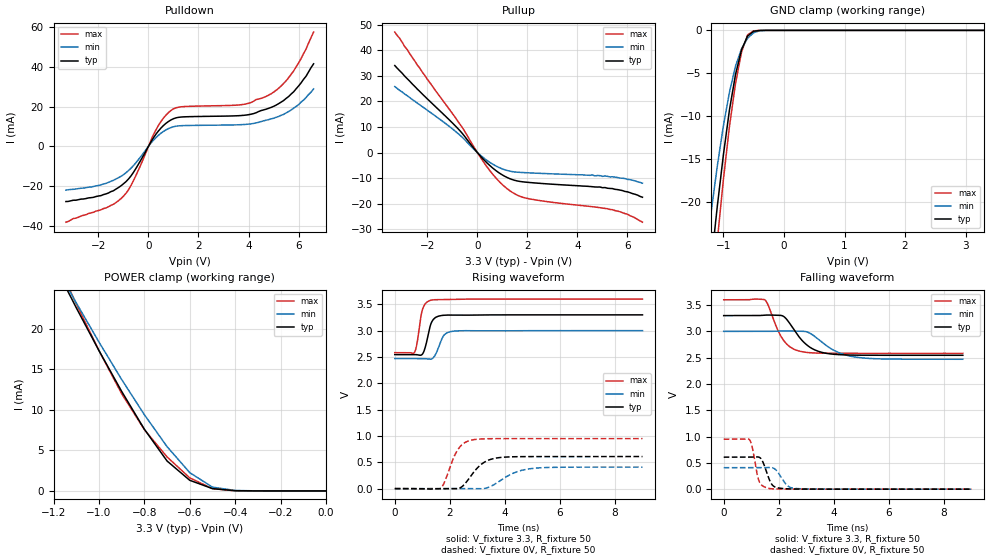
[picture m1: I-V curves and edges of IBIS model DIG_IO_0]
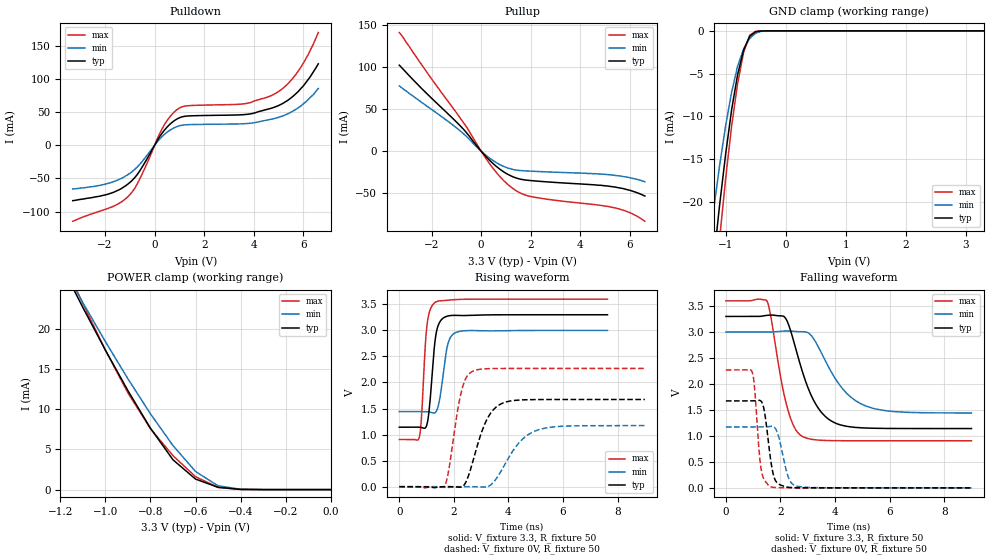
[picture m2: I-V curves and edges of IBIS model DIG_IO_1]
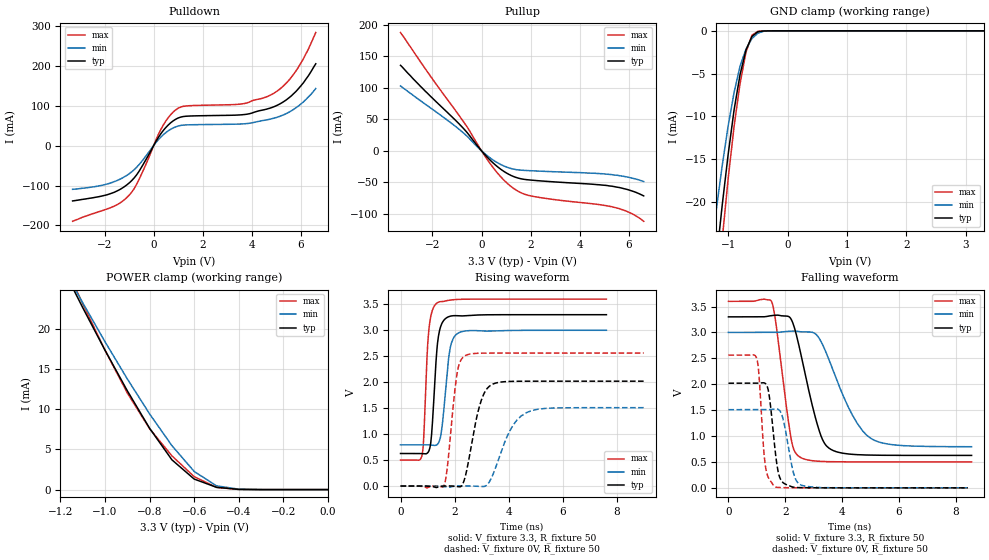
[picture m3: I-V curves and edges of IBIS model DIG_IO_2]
| COPYRIGHT(C) ADI 2011
[IBIS Ver] 4.2
[File Name] adv7182.ibs
[File Rev] 0.1
[Source]   This file originated at Analog Devices.
   I/V Curves based on simulations.
[Date]   12th October 2011
[Notes]   ibisckh5 4.2 gives 0 errors and 4 warnings
   Non monotonicity warnings and notes are related to
   simulation models and accuracy. Errors do not show visually.
   This IBIS model includes information on programmable
   drive strength and programmable open drain pins (interrupt).
   Layout simulation used where possible. Over the rails
   measurements do not reflect actual silicon.
[Disclaimer]
            This IBIS model is provided "AS IS, WHERE IS, AND WITH NO
            WARRANTY OF ANY KIND EITHER EXPRESSED OR IMPLIED, INCLUDING
            BUT NOT LIMITED TO ANY IMPLIED WARRANTIES OF MERCHANTABILITY
            AND FITNESS FOR A PARTICULAR PURPOSE."
            In no event will ADI be liable for special, collateral,
            incidental, or consequential damages in connection with or
            arising out of the use of this IBIS model.  ADI reserves the
            right to make changes to the products and IBIS models without
            prior notice.
[Copyright] Copyright (C)2011 Analog Devices, All Rights Reserved
[Component] ADV7182
[Manufacturer] Analog Devices
[Package]
| variable   typ   min   max
R_pkg   35mohms  30mohms   40mohms
L_pkg   0.626nH  0.6nH   0.65nH
C_pkg   0.212pF  0.2pF   0.4pF
[Pin]   signal_name   model_name   R_pin   L_pin   C_pin
1   DGND   GND
2   DVDDIO   POWER
3   DVDD   POWER
4   DGND   GND
5   P7   DIG_IO
6   P6   DIG_IO
7   P5   DIG_IO
8   P4   DIG_IO
9   P3   DIG_IO
10   P2   DIG_IO
11   P1   DIG_IO
12   P0   DIG_IO
13   DVDD   POWER
14   XTALP   NC
15   XTALN   NC
16   PVDD   POWER
17   AIN1   NC
18   AIN2   NC
19   VREFP   NC
20   VREFN   NC
21   AVDD   POWER
22   AIN3   NC
23   AIN4   NC
24   INTRQB   DIG_INT
25   RESETB   DIG_I_PD
26   ALSB   DIG_I_PD
27   SDATA   DIG_I2C_RCT
28   SCLK   DIG_I2C_RCT
29   VS_FIELD   DIG_IO
30   HS   DIG_IO
31   PWRDNB   DIG_I_PD
32   LLC   DIG_IO
[Model Selector]   DIG_IO
DIG_IO_2   Digital I/O, push-pull, drive strength 10 (Default)
DIG_IO_0   Digital I/O, push-pull, drive strength 00
DIG_IO_1   Digital I/O, push-pull, drive strength 01
DIG_IO_3   Digital I/O, push-pull, drive strength 11
[Model Selector]   DIG_I2C_RCT
DIG_I2C_RCT_drv2   Digital I/O, open drain, drive strength 10 (Default)
DIG_I2C_RCT_drv0   Digital I/O, open drain, drive strength 01
DIG_I2C_RCT_drv1   Digital I/O, open drain, drive strength 11
DIG_I2C_RCT_drv3   Digital I/O, open drain, drive strength 00 (Debug only)
[Model Selector]   DIG_INT
DIG_INT_2   Interrupt pad, push-pull, drive strength 10
DIG_INT_0   Interrupt pad, push-pull, drive strength 00
DIG_INT_1   Interrupt pad, push-pull, drive strength 01
DIG_INT_3   Interrupt pad, push-pull, drive strength 11
DIG_INTOD_2 Interrupt pad, open-drain, drive strength 10
DIG_INTOD_0 Interrupt pad, open-drain, drive strength 00
DIG_INTOD_1 Interrupt pad, open-drain, drive strength 01
DIG_INTOD_3 Interrupt pad, open-drain, drive strength 11
[Model Selector]   XTAL
XTALN   1.8V clock input
NC   External XTAL oscillator
| Models and submodels in the file (18): DIG_IO_0 (I/O), DIG_IO_1 (I/O), DIG_IO_2 (I/O), DIG_IO_3 (I/O), DIG_I2C_RCT_drv0 (I/O_open_drain), DIG_I2C_RCT_drv1 (I/O_open_drain), DIG_I2C_RCT_drv2 (I/O_open_drain), DIG_I2C_RCT_drv3 (I/O_open_drain), DIG_INT_0 (I/O), DIG_INT_1 (I/O), DIG_INT_2 (I/O), DIG_INT_3 (I/O), DIG_INTOD_0 (I/O_open_drain), DIG_INTOD_1 (I/O_open_drain), DIG_INTOD_2 (I/O_open_drain), DIG_INTOD_3 (I/O_open_drain), DIG_I_PD (Input), XTALN (Input)
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[Model] DIG_IO_0
Model_type I/O
Vinl = 1.41V
Vinh = 1.64V
C_comp 2.962886pF 2.887586pF 3.01125pF
Vmeas = 1.5V
Cref = 10pF
[Model Spec]
| Subparameter   typ   min   max
| Thresholds
Vinh   1.51V   1.41V   1.64V
Vinl   1.51V   1.41V   1.64V
| Overshoot
S_overshoot_high   3.60V   3.30V   3.90V
S_overshoot_low   -0.30V   NA   NA
| Timing spec related
Vmeas   1.5V   1.45V   1.55V
Cref   10pF   NA   NA
| variable   typ   min   max
[Temperature Range]   55   125   -20
[Voltage Range]   3.30V   3.00V   3.60V
[Pulldown Reference]   0V   0V   0V
[Pullup Reference]   3.30V   3.00V   3.60V
[GND Clamp Reference]   0V   0V   0V
[POWER Clamp Reference]  3.30V   3.00V   3.60V
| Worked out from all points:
|   slope of the pulldown table from 0 to 0.495 V, typ, clamps not added: 54.3 ohm
|   slope of the pullup table from 0 to 0.495 V, typ, clamps not added: 98.2 ohm
|   GND clamp passes 1 mA (typ) near -0.62 V on its own axis
|   POWER clamp passes 1 mA (typ) near -0.57 V on its own axis
|   falling waveform, V_fixture 3.3, R_fixture 50: 20-80 % time 737ps typ, 952ps min, 553ps max; typ from 3.3 V to 2.54 V
|   falling waveform, V_fixture 0V, R_fixture 50: 20-80 % time 264ps typ, 328ps min, 208ps max; typ from 0.609 V to 0 V
|   rising waveform, V_fixture 3.3, R_fixture 50: 20-80 % time 215ps typ, 253ps min, 186ps max; typ from 2.54 V to 3.3 V
|   rising waveform, V_fixture 0V, R_fixture 50: 20-80 % time 616ps typ, 851ps min, 458ps max; typ from 0 V to 0.609 V
[Pulldown]
| Note: Vtable = Vpin
| Voltage   I(typ)   I(min)   I(max)
-3.3V     -27.75mA   -21.98mA   -38.13mA
-1.9V     -24.78mA   -19.34mA   -31.91mA
-1V       -18.83mA   -14.27mA   -25.04mA
-600mV    -13.1mA    -9.689mA   -17.24mA
300mV     6.123mA    4.395mA    8.303mA
900mV     13.26mA    9.423mA    18.02mA
1.4V      14.79mA    10.41mA    19.96mA
3.8V      15.57mA    10.95mA    21.07mA
4.8V      19.08mA    13.42mA    25.68mA
5.3V      22.19mA    15.57mA    30.28mA
5.8V      27.34mA    19.14mA    37.82mA
6.6V      41.45mA    28.85mA    57.4mA
[Pullup]
| Note: Vtable = VCC - Vpin
| Voltage   I(typ)   I(min)   I(max)
-3.3V     34.02mA    25.8mA     47.11mA
-2V       20.99mA    16.53mA    28.66mA
-1V       11.6mA     9.282mA    15.3mA
-600mV    7.449mA    5.93mA     9.757mA
300mV     -3.215mA   -2.46mA    -4.429mA
800mV     -7.472mA   -5.542mA   -10.56mA
1.2V      -9.795mA   -7.039mA   -14.22mA
1.6V      -11.12mA   -7.677mA   -16.68mA
2.1V      -11.72mA   -7.952mA   -18.14mA
5.4V      -14.08mA   -9.473mA   -22.33mA
6V        -15.35mA   -10.5mA    -24.12mA
6.6V      -17.48mA   -11.97mA   -27.23mA
[GND Clamp]
| Note: Vtable = Vpin
| Voltage   I(typ)   I(min)   I(max)
-3.3V     -214.5mA   -182.2mA   -244.6mA
-1.3V     -33.86mA   -26.56mA   -40.27mA
-1.2V     -26.91mA   -20.96mA   -32.11mA
-1.1V     -20.39mA   -15.72mA   -24.38mA
-1V       -14.44mA   -11.07mA   -17.31mA
-900mV    -9.228mA   -7.175mA   -11.14mA
-800mV    -5.117mA   -4.156mA   -6.176mA
-700mV    -2.238mA   -2.117mA   -2.497mA
-600mV    -648.2uA   -901.7uA   -517.7uA
-500mV    -104.3uA   -269.8uA   -53.19uA
-300mV    -1.064uA   -3.668uA   -106.1nA
3.3V      281.6pA    4.932uA    65.52pA
[Power Clamp]
| Note: Vtable = VCC - Vpin
| Voltage   I(typ)   I(min)   I(max)
-3.3V     180.3mA    166.4mA    204.3mA
-1.2V     28.12mA    28.23mA    29.18mA
-1.1V     22.62mA    23.22mA    23.11mA
-1V       17.33mA    18.39mA    17.33mA
-900mV    12.29mA    13.77mA    12.02mA
-800mV    7.625mA    9.417mA    7.573mA
-700mV    3.698mA    5.472mA    4.2mA
-600mV    1.313mA    2.258mA    1.613mA
-500mV    286.1uA    469.4uA    276.4uA
-400mV    28.88uA    53.95uA    14.11uA
0V        281.6pA    3.147nA    79.58pA
[Ramp]
| Variable   typ   min   max
dV/dt_r   0.37V/613.0758ps   0.25V/846.7648ps   0.57V/457.6989ps
dV/dt_f   0.45V/737.3317ps   0.26V/878.4936ps   0.69V/585.6316ps
R_load =  50
[Falling Waveform]
V_fixture =  3.3
R_fixture =  50
V_fixture_max =  3.6
V_fixture_min =  3
| R_dut = 0.23Ohm
| L_dut = 6.2nH
| C_dut = 1.05pF
| Time   V(typ)   V(min)   V(max)
0s        3.3V       3V         3.6V
1.493ns   3.309V     3V         3.6V
2.133ns   3.296V     3.008V     2.862V
2.398ns   3.153V     3.007V     2.71V
2.789ns   2.863V     3.003V     2.619V
3.071ns   2.721V     2.981V     2.597V
3.448ns   2.619V     2.845V     2.586V
4.024ns   2.563V     2.634V     2.583V
4.77ns    2.548V     2.512V     2.582V
8.69ns    2.545V     2.47V      2.582V
[Falling Waveform]
V_fixture = 0V
R_fixture =  50
| R_dut = 0.23Ohm
| L_dut = 6.2nH
| C_dut = 1.05pF
| Time   V(typ)   V(min)   V(max)
0s        608.7mV    408.3mV    950.1mV
943ps     608.5mV    408.4mV    936.2mV
1.036ns   608.8mV    408.4mV    800.1mV
1.289ns   607.3mV    408.1mV    147.4mV
1.432ns   507.6mV    408.5mV    55.93mV
1.626ns   224.1mV    412.1mV    14.75mV
1.862ns   41.14mV    382.8mV    4.651mV
2.289ns   6.476mV    81.09mV    1.068mV
2.59ns    2.496mV    13.86mV    409.9uV
9ns       -2.507nV   63.96nV    -99.62nV
[Rising Waveform]
V_fixture =  3.3
R_fixture =  50
V_fixture_max =  3.6
V_fixture_min =  3
| R_dut = 0.23Ohm
| L_dut = 6.2nH
| C_dut = 1.05pF
| Time   V(typ)   V(min)   V(max)
0s        2.545V     2.47V      2.582V
703.5ps   2.546V     2.47V      2.58V
794.3ps   2.544V     2.47V      2.722V
1.008ns   2.558V     2.47V      3.406V
1.108ns   2.688V     2.467V     3.511V
1.333ns   3.157V     2.463V     3.581V
1.494ns   3.255V     2.562V     3.588V
1.765ns   3.292V     2.898V     3.59V
2.102ns   3.296V     2.988V     3.595V
9ns       3.3V       3V         3.6V
[Rising Waveform]
| R_dut = 0.23Ohm
| L_dut = 6.2nH
| C_dut = 1.05pF
V_fixture = 0V
R_fixture =  50
| R_dut = 0.23Ohm
| L_dut = 6.2nH
| C_dut = 1.05pF
| Time   V(typ)   V(min)   V(max)
0s        5.169nV    51.41nV    1.68nV
1.642ns   150.2uV    -5.193mV   615.1uV
1.779ns   787.2uV    -6.043mV   92.47mV
2.291ns   -1.262mV   244.2uV    741.7mV
2.824ns   282.6mV    -981.3uV   925.9mV
3.322ns   521.2mV    9.821mV    946.9mV
3.916ns   595.5mV    180.8mV    949.7mV
4.504ns   606.9mV    332.1mV    950mV
5.091ns   608.5mV    388.3mV    950.1mV
9ns       608.7mV    408.3mV    950.1mV
[Model] DIG_IO_1
Model_type I/O
Vinl = 1.41V
Vinh = 1.64V
C_comp 2.963235pF 2.887719pF 3.011567pF
Vmeas = 1.5V
Cref = 10pF
[Model Spec]
| Subparameter   typ   min   max
| Thresholds
Vinh   1.51V   1.41V   1.64V
Vinl   1.51V   1.41V   1.64V
| Overshoot
S_overshoot_high   3.60V   3.30V   3.90V
S_overshoot_low   -0.30V   NA   NA
| Timing spec related
Vmeas   1.5V   1.45V   1.55V
Cref   10pF   NA   NA
| variable   typ   min   max
[Temperature Range]   55   125   -20
[Voltage Range]   3.30V   3.00V   3.60V
[Pulldown Reference]   0V   0V   0V
[Pullup Reference]   3.30V   3.00V   3.60V
[GND Clamp Reference]   0V   0V   0V
[POWER Clamp Reference]  3.30V   3.00V   3.60V
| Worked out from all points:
|   slope of the pulldown table from 0 to 0.495 V, typ, clamps not added: 18.3 ohm
|   slope of the pullup table from 0 to 0.495 V, typ, clamps not added: 32.8 ohm
|   GND clamp passes 1 mA (typ) near -0.62 V on its own axis
|   POWER clamp passes 1 mA (typ) near -0.57 V on its own axis
|   falling waveform, V_fixture 3.3, R_fixture 50: 20-80 % time 878ps typ, 1.15ns min, 583ps max; typ from 3.3 V to 1.14 V
|   falling waveform, V_fixture 0V, R_fixture 50: 20-80 % time 253ps typ, 313ps min, 197ps max; typ from 1.67 V to 0 V
|   rising waveform, V_fixture 3.3, R_fixture 50: 20-80 % time 214ps typ, 253ps min, 180ps max; typ from 1.14 V to 3.3 V
|   rising waveform, V_fixture 0V, R_fixture 50: 20-80 % time 648ps typ, 916ps min, 416ps max; typ from 0 V to 1.67 V
[Pulldown]
| Note: Vtable = Vpin
| Voltage   I(typ)   I(min)   I(max)
-3.3V     -83.47mA   -65.84mA   -114.5mA
-1.9V     -73.96mA   -57.72mA   -95.37mA
-1V       -56.17mA   -42.36mA   -74.56mA
-600mV    -38.8mA    -28.76mA   -50.97mA
300mV     18.11mA    13.04mA    24.63mA
900mV     39.55mA    28.12mA    53.65mA
1.3V      43.99mA    30.97mA    59.4mA
3.7V      46.5mA     32.68mA    62.97mA
4.8V      56.95mA    40.1mA     76.59mA
5.7V      77.84mA    54.21mA    107mA
6.2V      99.43mA    69.05mA    137.2mA
6.6V      122.7mA    85.57mA    169.8mA
[Pullup]
| Note: Vtable = VCC - Vpin
| Voltage   I(typ)   I(min)   I(max)
-3.3V     102.1mA    77.55mA    140.8mA
-2.4V     74.4mA     57.92mA    102.7mA
-1V       34.73mA    27.8mA     45.76mA
-600mV    22.28mA    17.74mA    29.15mA
300mV     -9.62mA    -7.363mA   -13.26mA
800mV     -22.36mA   -16.6mA    -31.6mA
1.2V      -29.34mA   -21.09mA   -42.56mA
1.6V      -33.32mA   -23.02mA   -49.95mA
2V        -34.87mA   -23.7mA    -53.77mA
5.4V      -42.57mA   -28.76mA   -67.31mA
6V        -46.49mA   -31.47mA   -73.01mA
6.6V      -53.22mA   -36.29mA   -83.22mA
[GND Clamp]
| Note: Vtable = Vpin
| Voltage   I(typ)   I(min)   I(max)
-3.3V     -214.5mA   -182.3mA   -244.5mA
-1.3V     -33.86mA   -26.47mA   -40.22mA
-1.2V     -26.91mA   -20.95mA   -32.08mA
-1.1V     -20.38mA   -15.76mA   -24.35mA
-1V       -14.44mA   -11.11mA   -17.31mA
-900mV    -9.232mA   -7.193mA   -11.13mA
-800mV    -5.115mA   -4.123mA   -6.174mA
-700mV    -2.238mA   -2.121mA   -2.497mA
-600mV    -648.2uA   -898.8uA   -517.1uA
-500mV    -104.2uA   -270.4uA   -50.41uA
-300mV    -1.06uA    -3.759uA   -123.2nA
3.3V      384.8pA    4.915uA    62.74pA
[Power Clamp]
| Note: Vtable = VCC - Vpin
| Voltage   I(typ)   I(min)   I(max)
-3.3V     180.4mA    166.3mA    204.3mA
-1.2V     28.12mA    28.23mA    29.18mA
-1.1V     22.63mA    23.22mA    23.11mA
-1V       17.33mA    18.39mA    17.33mA
-900mV    12.29mA    13.77mA    12.02mA
-800mV    7.626mA    9.419mA    7.573mA
-700mV    3.706mA    5.475mA    4.216mA
-600mV    1.313mA    2.257mA    1.613mA
-500mV    289.6uA    469.4uA    272.8uA
-400mV    28.8uA     53.93uA    14.78uA
0V        384.8pA    3.067nA    80.8pA
[Ramp]
| Variable   typ   min   max
dV/dt_r   1.00V/647.3604ps   0.70V/914.1953ps   1.36V/415.8121ps
dV/dt_f   1.29V/876.7321ps   0.84V/1.10505ns   1.63V/549.5283ps
R_load =  50
[Falling Waveform]
V_fixture =  3.3
R_fixture =  50
V_fixture_max =  3.6
V_fixture_min =  3
| R_dut = 0.23Ohm
| L_dut = 6.2nH
| C_dut = 1.05pF
| Time   V(typ)   V(min)   V(max)
0s        3.3V       3V         3.6V
1.505ns   3.321V     3V         3.597V
2.207ns   3.247V     3.021V     1.628V
2.505ns   2.784V     3.011V     1.168V
2.812ns   2.222V     3.006V     988.1mV
3.152ns   1.752V     2.918V     933.8mV
3.661ns   1.365V     2.43V      912.3mV
4.275ns   1.201V     1.909V     906.9mV
4.956ns   1.156V     1.616V     905.9mV
9ns       1.142V     1.442V     905.5mV
[Falling Waveform]
V_fixture = 0V
R_fixture =  50
| R_dut = 0.23Ohm
| L_dut = 6.2nH
| C_dut = 1.05pF
| Time   V(typ)   V(min)   V(max)
0s        1.674V     1.172V     2.27V
966.2ps   1.673V     1.172V     2.226V
1.044ns   1.675V     1.172V     1.967V
1.284ns   1.671V     1.171V     381mV
1.409ns   1.479V     1.172V     153.2mV
1.612ns   650.4mV    1.182V     25.29mV
1.848ns   114.7mV    1.113V     5.628mV
2.287ns   11.21mV    207.4mV    1.264mV
2.546ns   3.927mV    41.32mV    573.1uV
9ns       62.18nV    162.7nV    -27.47nV
[Rising Waveform]
V_fixture =  3.3
R_fixture =  50
V_fixture_max =  3.6
V_fixture_min =  3
| R_dut = 0.23Ohm
| L_dut = 6.2nH
| C_dut = 1.05pF
| Time   V(typ)   V(min)   V(max)
0s        1.142V     1.441V     905.5mV
739.7ps   1.141V     1.441V     962.2mV
807.1ps   1.137V     1.442V     1.29V
1.001ns   1.173V     1.442V     3.038V
1.107ns   1.539V     1.435V     3.361V
1.311ns   2.806V     1.419V     3.537V
1.478ns   3.157V     1.674V     3.567V
1.781ns   3.276V     2.742V     3.581V
2.054ns   3.289V     2.956V     3.591V
7.629ns   3.3V       3V         3.6V
[Rising Waveform]
| R_dut = 0.23Ohm
| L_dut = 6.2nH
| C_dut = 1.05pF
V_fixture = 0V
R_fixture =  50
| R_dut = 0.23Ohm
| L_dut = 6.2nH
| C_dut = 1.05pF
| Time   V(typ)   V(min)   V(max)
0s        2.507nV    27.02nV    762.3pV
1.665ns   199.4uV    -12.77mV   14.66mV
1.819ns   1.036mV    -11.62mV   339.8mV
2.267ns   -8.851mV   319.7uV    1.809V
2.684ns   463mV      -492uV     2.214V
3.202ns   1.282V     -3.266mV   2.264V
3.809ns   1.608V     373.3mV    2.269V
4.391ns   1.663V     845.8mV    2.27V
5.114ns   1.672V     1.094V     2.27V
9ns       1.674V     1.172V     2.27V
[Model] DIG_IO_2
Model_type I/O
Vinl = 1.41V
Vinh = 1.64V
C_comp 2.964208pF 2.887811pF 3.012615pF
Vmeas = 1.5V
Cref = 10pF
[Model Spec]
| Subparameter   typ   min   max
| Thresholds
Vinh   1.51V   1.41V   1.64V
Vinl   1.51V   1.41V   1.64V
| Overshoot
S_overshoot_high   3.60V   3.30V   3.90V
S_overshoot_low   -0.30V   NA   NA
| Timing spec related
Vmeas   1.5V   1.45V   1.55V
Cref   10pF   NA   NA
| variable   typ   min   max
[Temperature Range]   55   125   -20
[Voltage Range]   3.30V   3.00V   3.60V
[Pulldown Reference]   0V   0V   0V
[Pullup Reference]   3.30V   3.00V   3.60V
[GND Clamp Reference]   0V   0V   0V
[POWER Clamp Reference]  3.30V   3.00V   3.60V
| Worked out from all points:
|   slope of the pulldown table from 0 to 0.495 V, typ, clamps not added: 11 ohm
|   slope of the pullup table from 0 to 0.495 V, typ, clamps not added: 24.7 ohm
|   GND clamp passes 1 mA (typ) near -0.62 V on its own axis
|   POWER clamp passes 1 mA (typ) near -0.57 V on its own axis
|   falling waveform, V_fixture 3.3, R_fixture 50: 20-80 % time 689ps typ, 1.07ns min, 436ps max; typ from 3.3 V to 0.626 V
|   falling waveform, V_fixture 0V, R_fixture 50: 20-80 % time 244ps typ, 310ps min, 187ps max; typ from 2.02 V to 0 V
|   rising waveform, V_fixture 3.3, R_fixture 50: 20-80 % time 199ps typ, 249ps min, 168ps max; typ from 0.626 V to 3.3 V
|   rising waveform, V_fixture 0V, R_fixture 50: 20-80 % time 479ps typ, 736ps min, 296ps max; typ from 0 V to 2.02 V
[Pulldown]
| Note: Vtable = Vpin
| Voltage   I(typ)   I(min)   I(max)
-3.3V     -138.6mA   -109.6mA   -189.6mA
-1.9V     -123.2mA   -96.3mA    -158.8mA
-1V       -93.75mA   -70.67mA   -124.4mA
-600mV    -64.87mA   -48.05mA   -85.26mA
300mV     30.25mA    21.78mA    41.1mA
900mV     66mA       46.9mA     89.53mA
1.3V      73.34mA    51.63mA    99.02mA
3.6V      77.12mA    54.2mA     104.3mA
4.8V      94.99mA    67.01mA    127.7mA
5.7V      130mA      90.54mA    178.6mA
6.1V      157.4mA    109.4mA    217.5mA
6.6V      204.8mA    142.7mA    282.9mA
[Pullup]
| Note: Vtable = VCC - Vpin
| Voltage   I(typ)   I(min)   I(max)
-3.3V     135.8mA    103.1mA    187.8mA
-2.1V     87.4mA     68.82mA    119.6mA
-1V       46.16mA    36.95mA    60.78mA
-600mV    29.58mA    23.57mA    38.7mA
300mV     -12.79mA   -9.77mA    -17.57mA
800mV     -29.71mA   -22.06mA   -41.95mA
1.2V      -39mA      -28.03mA   -56.53mA
1.6V      -44.27mA   -30.59mA   -66.37mA
2V        -46.35mA   -31.5mA    -71.46mA
5.6V      -58.11mA   -39.22mA   -91.61mA
6.1V      -63.36mA   -43.06mA   -99.25mA
6.6V      -71.44mA   -48.65mA   -111.8mA
[GND Clamp]
| Note: Vtable = Vpin
| Voltage   I(typ)   I(min)   I(max)
-3.3V     -214.6mA   -182.3mA   -244.7mA
-1.3V     -33.85mA   -26.47mA   -40.29mA
-1.2V     -26.91mA   -20.95mA   -32.11mA
-1.1V     -20.39mA   -15.76mA   -24.39mA
-1V       -14.45mA   -11.11mA   -17.3mA
-900mV    -9.228mA   -7.193mA   -11.15mA
-800mV    -5.119mA   -4.12mA    -6.173mA
-700mV    -2.236mA   -2.12mA    -2.494mA
-600mV    -648.1uA   -898.6uA   -511.9uA
-500mV    -104.5uA   -270.4uA   -54.66uA
-300mV    -1.067uA   -3.762uA   -151.6nA
3.3V      348.7pA    5.019uA    65.44pA
[Power Clamp]
| Note: Vtable = VCC - Vpin
| Voltage   I(typ)   I(min)   I(max)
-3.3V     180.4mA    166.4mA    204.3mA
-1.2V     28.12mA    28.23mA    29.18mA
-1.1V     22.63mA    23.22mA    23.11mA
-1V       17.33mA    18.39mA    17.33mA
-900mV    12.29mA    13.77mA    12.02mA
-800mV    7.626mA    9.417mA    7.573mA
-700mV    3.705mA    5.472mA    4.2mA
-600mV    1.311mA    2.258mA    1.613mA
-500mV    287.5uA    469.4uA    276.2uA
-400mV    28.85uA    53.98uA    14.08uA
0V        348.7pA    3.498nA    79.48pA
[Ramp]
| Variable   typ   min   max
dV/dt_r   1.21V/478.1097ps   0.91V/730.964ps   1.54V/294.5572ps
dV/dt_f   1.60V/687.5054ps   1.31V/1.140103ns   1.85V/429.2779ps
R_load =  50
[Falling Waveform]
V_fixture =  3.3
R_fixture =  50
V_fixture_max =  3.6
V_fixture_min =  3
| R_dut = 0.23Ohm
| L_dut = 6.2nH
| C_dut = 1.05pF
| Time   V(typ)   V(min)   V(max)
0s        3.3V       3V         3.6V
1.529ns   3.325V     3V         3.581V
1.663ns   3.332V     3V         3.2V
2.204ns   3.256V     3.025V     950.9mV
2.508ns   2.679V     3.014V     596.4mV
3.193ns   1.102V     2.885V     512.6mV
3.602ns   742.8mV    2.379V     504.8mV
4.364ns   646.6mV    1.4V       501.5mV
4.994ns   632.1mV    960.2mV    501mV
8.551ns   626.3mV    793.9mV    500.8mV
[Falling Waveform]
V_fixture = 0V
R_fixture =  50
| R_dut = 0.23Ohm
| L_dut = 6.2nH
| C_dut = 1.05pF
| Time   V(typ)   V(min)   V(max)
0s        2.02V      1.509V     2.561V
998.6ps   2.019V     1.509V     2.492V
1.076ns   2.021V     1.509V     2.16V
1.298ns   2.014V     1.509V     427.1mV
1.443ns   1.746V     1.51V      157.7mV
1.636ns   750.2mV    1.522V     20.84mV
1.86ns    138.4mV    1.436V     5.109mV
2.285ns   13.1mV     293.5mV    1.308mV
2.562ns   3.982mV    52.2mV     595.3uV
8.421ns   122.8nV    1.403uV    32.76nV
[Rising Waveform]
V_fixture =  3.3
R_fixture =  50
V_fixture_max =  3.6
V_fixture_min =  3
| R_dut = 0.23Ohm
| L_dut = 6.2nH
| C_dut = 1.05pF
| Time   V(typ)   V(min)   V(max)
0s        626.3mV    793.4mV    500.8mV
798.4ps   625mV      793.5mV    598mV
865ps     621.5mV    793.7mV    997.3mV
1.047ns   672.4mV    792.7mV    2.998V
1.149ns   988mV      787.8mV    3.333V
1.332ns   2.54V      789.6mV    3.519V
1.519ns   3.118V     1.069V     3.553V
1.84ns    3.272V     2.661V     3.582V
2.123ns   3.28V      2.943V     3.595V
7.621ns   3.3V       3V         3.6V
[Rising Waveform]
| R_dut = 0.23Ohm
| L_dut = 6.2nH
| C_dut = 1.05pF
V_fixture = 0V
R_fixture =  50
| R_dut = 0.23Ohm
| L_dut = 6.2nH
| C_dut = 1.05pF
| Time   V(typ)   V(min)   V(max)
0s        1.646nV    18.25nV    489.6pV
1.608ns   -166.8uV   -10.41mV   483uV
1.727ns   1.362mV    -19.36mV   335mV
2.084ns   -9.494mV   -849.9uV   2.136V
2.405ns   199.4mV    1.069mV    2.514V
2.925ns   1.541V     -7.938mV   2.558V
3.367ns   1.95V      156.6mV    2.561V
4.026ns   2.015V     1.043V     2.561V
4.652ns   2.019V     1.412V     2.561V
9ns       2.02V      1.509V     2.561V
